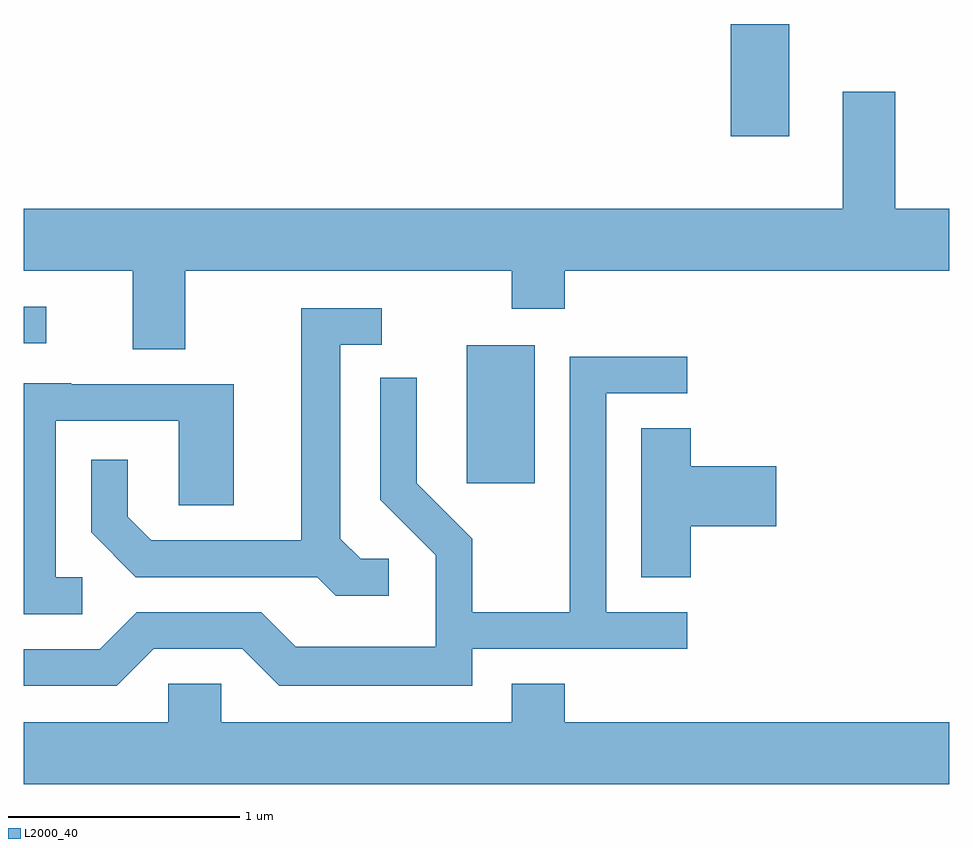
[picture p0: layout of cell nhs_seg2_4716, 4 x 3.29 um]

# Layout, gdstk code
import gdstk
lib = gdstk.Library(unit=1e-6, precision=1e-09)
def R(c, l, rs):  # rectangles x0, y0, x1, y1
    for r in rs: c.add(gdstk.rectangle(r[:2], r[2:], *l))
def P(c, l, *ps):  # polygons
    for p in ps: c.add(gdstk.Polygon(p, *l))
L2000_40 = (2000, 40)

nhs_seg2_4716 = lib.new_cell('nhs_seg2_4716')
R(nhs_seg2_4716, L2000_40, [(325.526,1071.816,325.819,1072.414), (323.611,1072.421,323.708,1072.579), (326.666,1073.316,326.919,1073.802)])
P(nhs_seg2_4716, L2000_40, [(324.309,1072.736),(325.721,1072.736),(325.721,1072.571),(325.949,1072.571),(325.949,1072.736),(327.611,1072.736),(327.611,1073.004),(327.379,1073.004),(327.379,1073.509),(327.151,1073.509),(327.151,1073.004),(323.611,1073.004),(323.611,1072.736),(324.081,1072.736),(324.081,1072.396),(324.309,1072.396)],
  [(325.188,1071.489),(325.067,1071.489),(324.979,1071.577),(324.979,1072.416),(325.158,1072.416),(325.158,1072.574),(324.811,1072.574),(324.811,1071.569),(324.162,1071.569),(324.059,1071.672),(324.059,1071.918),(323.901,1071.918),(323.901,1071.604),(324.094,1071.411),(324.879,1071.411),(324.959,1071.331),(325.188,1071.331)],
  [(324.172,1071.101),(324.554,1071.101),(324.714,1070.941),(325.549,1070.941),(325.549,1071.101),(326.478,1071.101),(326.478,1071.259),(326.129,1071.259),(326.129,1072.206),(326.478,1072.206),(326.478,1072.364),(325.971,1072.364),(325.971,1071.259),(325.549,1071.259),(325.549,1071.577),(325.309,1071.817),(325.309,1072.273),(325.151,1072.273),(325.151,1071.744),(325.391,1071.504),(325.391,1071.109),(324.787,1071.109),(324.637,1071.259),(324.099,1071.259),(323.939,1071.099),(323.611,1071.099),(323.611,1070.941),(324.012,1070.941)],
  [(323.863,1071.409),(323.749,1071.409),(323.749,1072.086),(324.281,1072.086),(324.281,1071.721),(324.519,1071.721),(324.519,1072.244),(323.815,1072.244),(323.815,1072.249),(323.611,1072.249),(323.611,1071.251),(323.863,1071.251)],
  [(326.494,1071.631),(326.864,1071.631),(326.864,1071.889),(326.494,1071.889),(326.494,1072.054),(326.281,1072.054),(326.281,1071.411),(326.494,1071.411)],
  [(327.611,1070.784),(325.949,1070.784),(325.949,1070.949),(325.721,1070.949),(325.721,1070.784),(324.464,1070.784),(324.464,1070.949),(324.236,1070.949),(324.236,1070.784),(323.611,1070.784),(323.611,1070.516),(327.611,1070.516)])

lib.write_gds('nhs_seg2_4716.gds')
